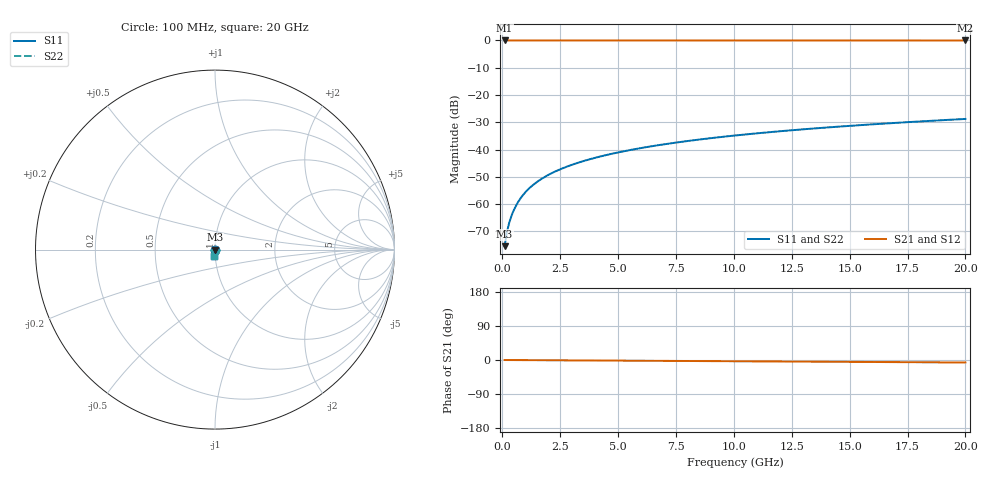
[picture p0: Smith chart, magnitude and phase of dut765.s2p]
! Touchstone file exported from HFSS 2026.1.0
!  File:  C:/ffzhzh/LocalFiles/Ansys_Project_Files/temp_train_TSV_765_1783183314_22436.aedt
!  Generated:  12:43:18 AM Jul  5, 2026
!  Design:  TSV
!  Project:  temp_train_TSV_765_1783183314_22436
! Variables:
!  h_bsmrdl = 2um
!  h_ox = 20um
!  h_rdl = 5um
!  h_sub = 63.4um
!  h_tmrdl = 5um
!  h_tsv = 63.4um
!  h_via = 3um
!  l_bsmrdl = 300um
!  l_sub = 423.48um
!  l_tmrdl = 200um
!  m_sub = 200um
!  pitch = 35.3um
!  r_tsv = 11.74um
!  s_tmrdl = 10um
!  w_bsmrdl = 18um
!  w_sub = 500um
!  w_tmrdl = 12um
!  x_tsv_center1 = 206um
!  x_tsv_center2 = 524um
!  x_tsv_center3 = 736um
!  x_tsv_center4 = 1054um
!  x_tsv_center5 = 1266um
!  x_tsv_center6 = 1584um
# GHz S MA R 50.000000
! Terminal data exported
! Port[1] = TSV1_1_T1
! Port[2] = TSV1_1_T2
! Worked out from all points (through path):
!   200 points, 100 MHz to 20 GHz, reference 50 ohm
!   highest |S21| = 0.00 dB at 100 MHz (marker M1); lowest = 0.0 dB at 20 GHz (marker M2)
!   lowest |S11| = -75.4 dB at 100 MHz (marker M3), VSWR 1.00, Z = 50 - j0.0143 ohm
!   |S11| at or under -10 dB: start of sweep to end of sweep
!   |S22| runs from -75.4 to -28.8 dB; largest |S21 - S12| = 4.4e-15
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0.1  0.0001692 -57.6  0.9999 -0.0  0.9999 -0.0  0.0001692 -57.6
! Gamma 0 0 0 0
! Port Impedance 50 0 50 0
0.2  0.0003067 -70.4  0.9999 -0.1  0.9999 -0.1  0.0003067 -70.4
0.3  0.0004568 -74.7  0.9999 -0.1  0.9999 -0.1  0.0004568 -74.7
0.4  0.000615 -76.7  0.9999 -0.1  0.9999 -0.1  0.000615 -76.7
0.5  0.0007797 -78.0  0.9998 -0.2  0.9998 -0.2  0.0007797 -78.0
0.7  0.001122 -79.7  0.9998 -0.2  0.9998 -0.2  0.001122 -79.7
0.8  0.001298 -80.3  0.9998 -0.3  0.9998 -0.3  0.001298 -80.3
1  0.001653 -81.5  0.9997 -0.3  0.9997 -0.3  0.001653 -81.5
1.2  0.002011 -82.5  0.9997 -0.4  0.9997 -0.4  0.002011 -82.5
1.4  0.002369 -83.3  0.9997 -0.5  0.9997 -0.5  0.002369 -83.3
1.7  0.002907 -84.2  0.9997 -0.6  0.9997 -0.6  0.002907 -84.2
2  0.003445 -85.0  0.9996 -0.7  0.9996 -0.7  0.003445 -85.0
2.7  0.0047 -86.2  0.9996 -0.9  0.9996 -0.9  0.0047 -86.2
3.5  0.006139 -87.1  0.9995 -1.2  0.9995 -1.2  0.006139 -87.1
4.2  0.007403 -87.7  0.9995 -1.4  0.9995 -1.4  0.007403 -87.7
5  0.008853 -88.3  0.9994 -1.7  0.9994 -1.7  0.008853 -88.3
6.8  0.01213 -89.3  0.9993 -2.2  0.9993 -2.2  0.01213 -89.3
8.3  0.01488 -90.1  0.9992 -2.7  0.9992 -2.7  0.01488 -90.1
10.1  0.01818 -91.0  0.9991 -3.3  0.9991 -3.3  0.01818 -91.0
13.4  0.02424 -92.4  0.9988 -4.4  0.9988 -4.4  0.02424 -92.4
16.7  0.0303 -93.7  0.9986 -5.5  0.9986 -5.5  0.0303 -93.7
20  0.03637 -94.9  0.9983 -6.6  0.9983 -6.6  0.03637 -94.9
